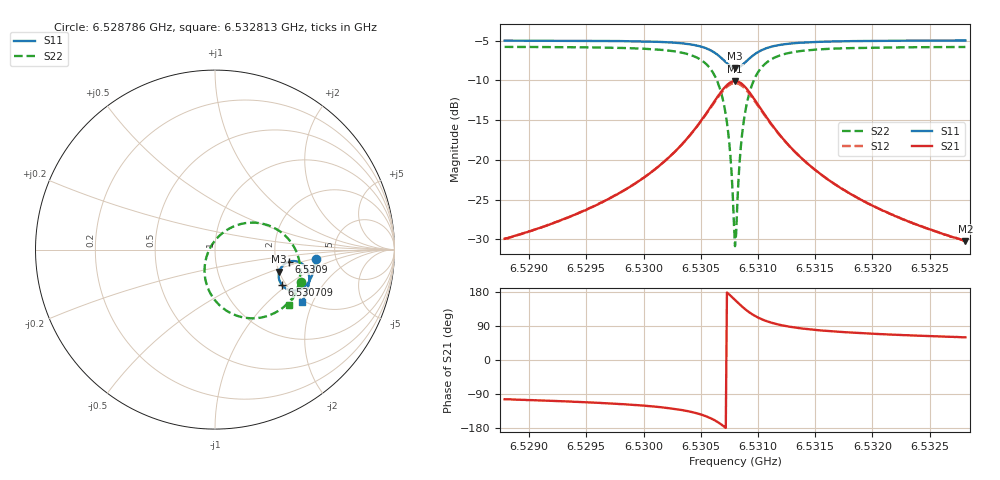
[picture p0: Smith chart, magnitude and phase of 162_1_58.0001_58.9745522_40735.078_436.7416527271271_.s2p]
#  HZ  S  RI  R  50.00
! Rohde & Schwarz Vector Network Analyzer
! Rohde-Schwarz,ZNB20-2Port,1311601062101988,3.16
! Created: UTC 3/21/2024, 12:57:28 AM
! freq[Hz]  re:S11  im:S11  re:S21  im:S21  re:S12  im:S12  re:S22  im:S22
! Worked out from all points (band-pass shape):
!   401 points, 6.528786 GHz to 6.532813 GHz, reference 50 ohm
!   highest |S21| = -10.06 dB at 6.5308 GHz (marker M1); lowest = -30.2 dB at 6.532813 GHz (marker M2)
!   |S21| within 3 dB of the highest: 6.530599 GHz to 6.531002 GHz (402.5 kHz wide, 0.00616 % of centre)
!   lowest |S11| = -8.4 dB at 6.5308 GHz (marker M3), VSWR 2.22, Z = 100 - j28.9 ohm
!   |S11| at or under -10 dB: nowhere
!   |S22| runs from -30.8 to -5.8 dB; largest |S21 - S12| = 0.013
!   S11 on the Smith chart (normalised r, x): 6.528786 GHz: 3.49, -0.53; 6.530709 GHz: 1.90, -0.90; 6.5309 GHz: 2.36, -0.39; 6.532813 GHz: 1.95, -1.66
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6.5287861e9  0.5605 -0.0517  -0.00749 -0.031  -0.00815 -0.0309  0.4814 -0.1812
6.5294606e9  0.5512 -0.1085  -0.0169 -0.0441  -0.0181 -0.0437  0.4492 -0.2441
6.5298331e9  0.5404 -0.1438  -0.0292 -0.0575  -0.0309 -0.0569  0.4163 -0.2879
6.5301351e9  0.5241 -0.1773  -0.0514 -0.0758  -0.0536 -0.0743  0.3656 -0.3332
6.5303666e9  0.4972 -0.2077  -0.0919 -0.0959  -0.0948 -0.0925  0.2827 -0.3725
6.5305378e9  0.453 -0.2275  -0.1615 -0.1028  -0.164 -0.0958  0.154 -0.3771
6.5306385e9  0.4072 -0.2228  -0.2328 -0.0759  -0.2319 -0.0657  0.0347 -0.3186
6.5307089e9  0.3711 -0.1952  -0.2853 -0.0161  -0.2792 -0.00557  -0.042 -0.2078
6.5307492e9  0.3574 -0.1667  -0.3018 0.0377  -0.2924 0.0464  -0.0583 -0.1151
6.5307895e9  0.3558 -0.1325  -0.297 0.0997  -0.2856 0.1045  -0.0383 -0.0147
6.5307995e9  0.3577 -0.1238  -0.2921 0.1149  -0.2804 0.1186  -0.0272 0.00922
6.5308096e9  0.3606 -0.1155  -0.2854 0.1295  -0.2738 0.1323  -0.0137 0.0317
6.5308197e9  0.3641 -0.1076  -0.2775 0.1433  -0.2661 0.1451  0.00194 0.0528
6.5308398e9  0.3739 -0.0931  -0.2582 0.1679  -0.2475 0.1679  0.0383 0.0893
6.5308599e9  0.386 -0.0814  -0.2354 0.1878  -0.2256 0.1862  0.0795 0.1172
6.5309002e9  0.4133 -0.0673  -0.1856 0.2115  -0.1783 0.2084  0.1662 0.1472
6.5309707e9  0.4572 -0.0662  -0.1085 0.214  -0.1047 0.2107  0.2954 0.1357
6.5310713e9  0.4962 -0.0879  -0.0422 0.1826  -0.0403 0.1808  0.4025 0.0663
6.5312224e9  0.5191 -0.124  -0.00193 0.1353  -0.000514 0.1344  0.4609 -0.0309
6.531474e9  0.5253 -0.1677  0.0153 0.0883  0.0165 0.0881  0.4754 -0.1299
6.5321485e9  0.5089 -0.2389  0.0178 0.0423  0.0186 0.0421  0.4465 -0.2469
6.532813e9  0.4845 -0.2901  0.0155 0.0268  0.0161 0.0264  0.412 -0.3069
